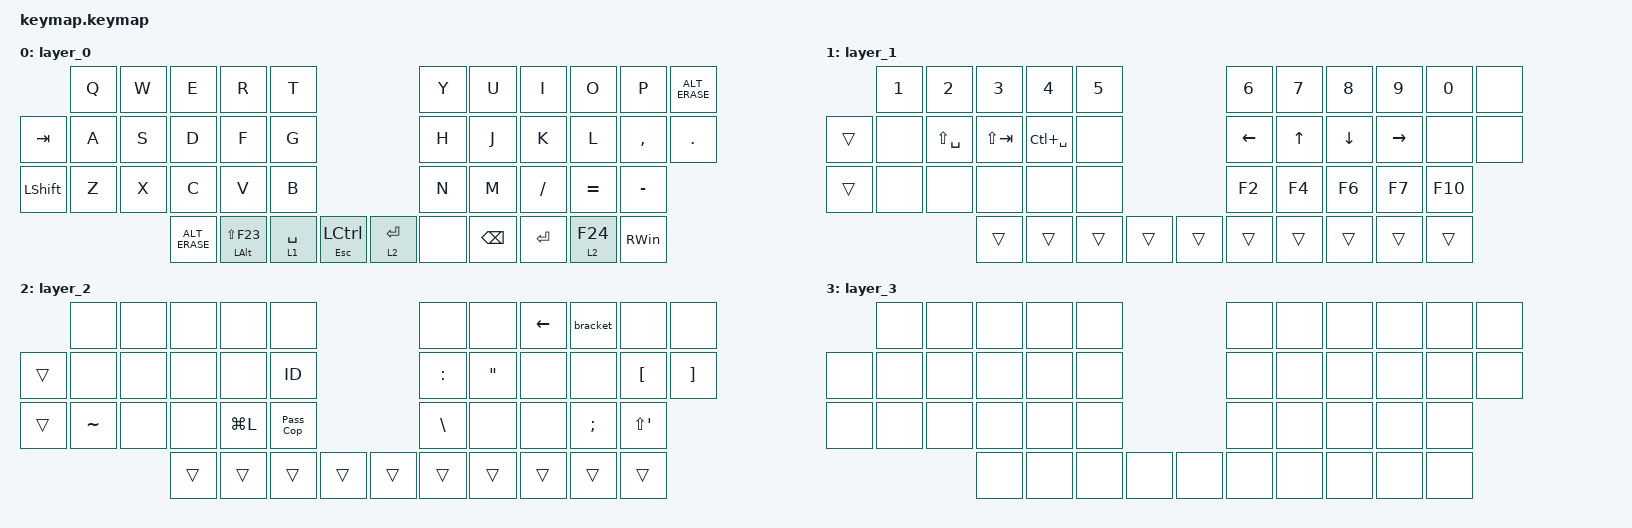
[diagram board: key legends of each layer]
#include <behaviors.dtsi>
#include <dt-bindings/zmk/keys.h>

/ {
    macros {
        ID: ID {
            compatible = "zmk,behavior-macro";
            #binding-cells = <0>;
            bindings = <&kp N0 &kp N3 &kp N3 &kp N3 &kp N2 &kp N6 &kp N4>;
            label = "ID";
        };

        Pass_Cop: Pass_Cop {
            compatible = "zmk,behavior-macro";
            #binding-cells = <0>;
            bindings = <&kp LS(C) &kp N0 &kp P &kp P &kp E &kp R &kp T &kp R &kp E &kp E &kp N7 &kp N4>;
            label = "PASS_COP";
        };

        bracket: bracket {
            compatible = "zmk,behavior-macro";
            #binding-cells = <0>;
            bindings = <&kp LPAR &kp RPAR>;
            label = "BRACKET";
        };
    };

    keymap {
        compatible = "zmk,keymap";

        layer_0 {
            bindings = <
           &kp Q  &kp W  &kp E          &kp R                 &kp T                                                   &kp Y      &kp U      &kp I          &kp O      &kp P      &kp ALT_ERASE
&kp TAB    &kp A  &kp S  &kp D          &kp F                 &kp G                                                   &kp H      &kp J      &kp K          &kp L      &kp COMMA  &kp DOT
&kp LSHFT  &kp Z  &kp X  &kp C          &kp V                 &kp B                                                   &kp N      &kp M      &kp FSLH       &kp EQUAL  &kp MINUS
                         &kp ALT_ERASE  &mt LEFT_ALT LS(F23)  &lt 1 SPACE  &mt ESC LCTRL  &lt 2 RET  &none  &kp BSPC  &kp ENTER  &lt 2 F24  &kp RIGHT_WIN
            >;
        };

        layer_1 {
            bindings = <
        &kp N1  &kp N2         &kp N3       &kp N4         &kp N5                                  &kp N6    &kp N7        &kp N8          &kp N9     &kp N0   &none
&trans  &none   &kp LS(SPACE)  &kp LS(TAB)  &kp LC(SPACE)  &none                                   &kp LEFT  &kp UP_ARROW  &kp DOWN_ARROW  &kp RIGHT  &none    &none
&trans  &none   &none          &none        &none          &none                                   &kp F2    &kp F4        &kp F6          &kp F7     &kp F10
                               &trans       &trans         &trans  &trans  &trans  &trans  &trans  &trans    &trans        &trans
            >;
        };

        layer_2 {
            bindings = <
        &none      &none  &none   &none      &none                                      &none          &none              &kp LEFT_ARROW  &bracket  &none             &none
&trans  &none      &none  &none   &none      &ID                                        &kp COLON      &kp DOUBLE_QUOTES  &none           &none     &kp LEFT_BRACKET  &kp RIGHT_BRACKET
&trans  &kp TILDE  &none  &none   &kp LG(L)  &Pass_Cop                                  &kp BACKSLASH  &none              &none           &kp SEMI  &kp LS(SQT)
                          &trans  &trans     &trans     &trans  &trans  &trans  &trans  &trans         &trans             &trans
            >;
        };

        layer_3 {
            bindings = <
       &none  &none  &none  &none  &none                              &none  &none  &none  &none  &none  &none
&none  &none  &none  &none  &none  &none                              &none  &none  &none  &none  &none  &none
&none  &none  &none  &none  &none  &none                              &none  &none  &none  &none  &none
                     &none  &none  &none  &none  &none  &none  &none  &none  &none  &none
            >;
        };
    };
};
